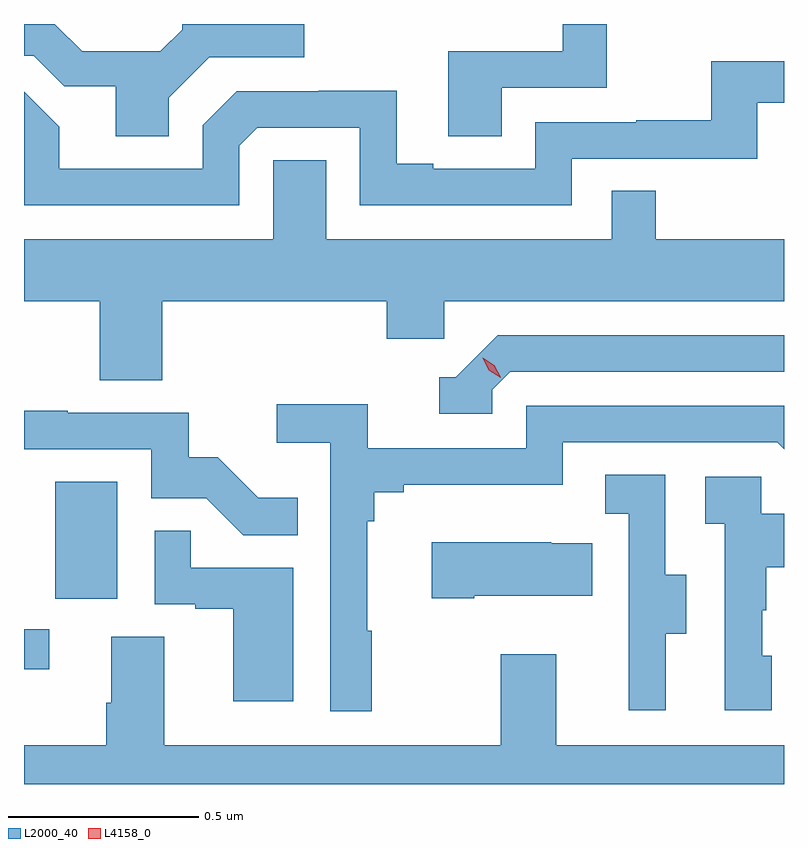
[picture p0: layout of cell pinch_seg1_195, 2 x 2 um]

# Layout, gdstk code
import gdstk
lib = gdstk.Library(unit=1e-6, precision=1e-09)
def R(c, l, rs):  # rectangles x0, y0, x1, y1
    for r in rs: c.add(gdstk.rectangle(r[:2], r[2:], *l))
def P(c, l, *ps):  # polygons
    for p in ps: c.add(gdstk.Polygon(p, *l))
L2000_40 = (2000, 40)
L4158_0 = (4158, 0)

pinch_seg1_195 = lib.new_cell('pinch_seg1_195')
R(pinch_seg1_195, L2000_40, [(1114.288,558.756,1114.354,558.861), (1114.37,558.942,1114.534,559.249)])
P(pinch_seg1_195, L2000_40, [(1115.545,560.286),(1115.822,560.286),(1115.822,560.454),(1115.706,560.454),(1115.706,560.382),(1115.405,560.382),(1115.405,560.158),(1115.545,560.158)],
  [(1114.669,560.26),(1114.776,560.367),(1115.026,560.367),(1115.026,560.454),(1114.704,560.454),(1114.704,560.439),(1114.647,560.382),(1114.441,560.382),(1114.369,560.454),(1114.288,560.454),(1114.288,560.37),(1114.314,560.37),(1114.394,560.29),(1114.529,560.29),(1114.529,560.158),(1114.669,560.158)],
  [(1114.854,560.133),(1114.902,560.181),(1115.172,560.181),(1115.172,559.977),(1115.73,559.977),(1115.73,560.1),(1116.217,560.1),(1116.217,560.247),(1116.288,560.247),(1116.288,560.356),(1116.096,560.356),(1116.096,560.201),(1115.899,560.201),(1115.899,560.196),(1115.634,560.196),(1115.634,560.073),(1115.365,560.073),(1115.365,560.086),(1115.269,560.086),(1115.269,560.279),(1115.064,560.279),(1115.064,560.277),(1114.848,560.277),(1114.758,560.187),(1114.758,560.073),(1114.381,560.073),(1114.381,560.183),(1114.288,560.276),(1114.288,559.977),(1114.854,559.977)],
  [(1114.652,559.724),(1115.243,559.724),(1115.243,559.626),(1115.394,559.626),(1115.394,559.724),(1116.288,559.724),(1116.288,559.888),(1115.951,559.888),(1115.951,560.015),(1115.835,560.015),(1115.835,559.888),(1115.083,559.888),(1115.083,560.096),(1114.944,560.096),(1114.944,559.888),(1114.288,559.888),(1114.288,559.724),(1114.487,559.724),(1114.487,559.516),(1114.652,559.516)],
  [(1115.52,559.491),(1115.568,559.539),(1116.288,559.539),(1116.288,559.635),(1115.535,559.635),(1115.424,559.524),(1115.381,559.524),(1115.381,559.428),(1115.52,559.428)],
  [(1115.203,558.857),(1115.191,558.857),(1115.191,559.145),(1115.21,559.145),(1115.21,559.222),(1115.287,559.222),(1115.287,559.241),(1115.706,559.241),(1115.706,559.353),(1116.27,559.353),(1116.288,559.335),(1116.288,559.449),(1115.61,559.449),(1115.61,559.338),(1115.192,559.338),(1115.192,559.454),(1114.953,559.454),(1114.953,559.352),(1115.094,559.352),(1115.094,558.645),(1115.203,558.645)],
  [(1115.009,559.207),(1114.905,559.207),(1114.798,559.314),(1114.722,559.314),(1114.722,559.431),(1114.403,559.431),(1114.403,559.436),(1114.288,559.436),(1114.288,559.335),(1114.623,559.335),(1114.623,559.206),(1114.767,559.206),(1114.865,559.108),(1115.009,559.108)],
  [(1115.977,558.85),(1116.031,558.85),(1116.031,559.005),(1115.976,559.005),(1115.976,559.268),(1115.817,559.268),(1115.817,559.165),(1115.88,559.165),(1115.88,558.861),(1115.879,558.861),(1115.879,558.648),(1115.977,558.648)],
  [(1116.256,558.792),(1116.231,558.792),(1116.231,558.911),(1116.241,558.911),(1116.241,559.025),(1116.288,559.025),(1116.288,559.165),(1116.228,559.165),(1116.228,559.263),(1116.081,559.263),(1116.081,559.139),(1116.132,559.139),(1116.132,558.648),(1116.256,558.648)],
  [(1114.996,559.023),(1114.727,559.023),(1114.727,559.121),(1114.632,559.121),(1114.632,558.927),(1114.739,558.927),(1114.739,558.915),(1114.838,558.915),(1114.838,558.672),(1114.996,558.672)],
  [(1115.473,558.95),(1115.783,558.95),(1115.783,559.087),(1115.675,559.087),(1115.675,559.09),(1115.361,559.09),(1115.361,558.943),(1115.473,558.943)],
  [(1116.288,558.556),(1115.689,558.556),(1115.689,558.796),(1115.542,558.796),(1115.542,558.556),(1114.657,558.556),(1114.657,558.842),(1114.517,558.842),(1114.517,558.668),(1114.505,558.668),(1114.505,558.556),(1114.288,558.556),(1114.288,558.454),(1116.288,558.454)])
P(pinch_seg1_195, L4158_0, [(1115.542,559.523),(1115.511,559.543),(1115.495,559.576),(1115.495,559.576),(1115.495,559.576),(1115.526,559.556),(1115.542,559.524),(1115.542,559.523)])

lib.write_gds('pinch_seg1_195.gds')
